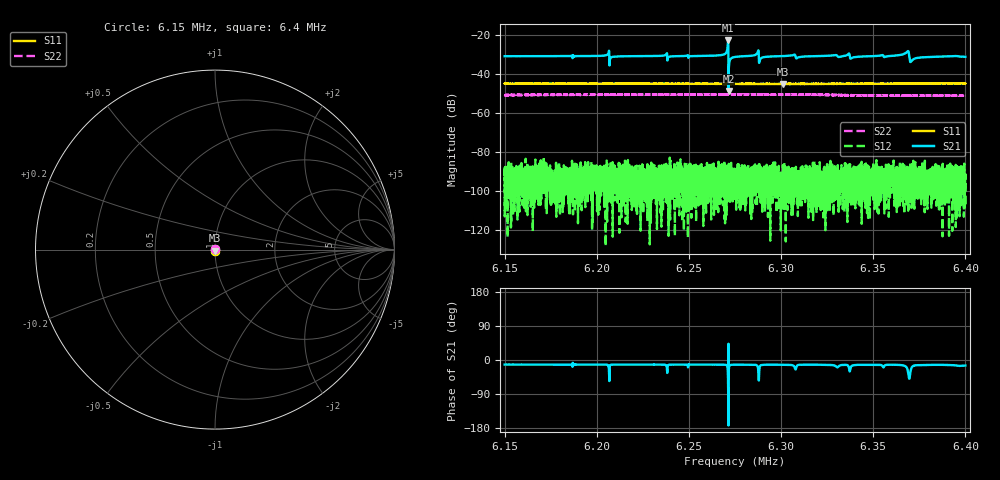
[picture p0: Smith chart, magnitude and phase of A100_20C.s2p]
!CETC41,AV3656A,ZGL00048,1.3.2
!Calibration ON (Full Solt 2-Port(Omit Isolation))
!Measurements: S11 S21 S12 S22
!2025-04-29 18:00
# Hz  S  dB  R 50.000
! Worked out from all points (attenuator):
!   6401 points, 6.15 MHz to 6.4 MHz, reference 50 ohm
!   highest |S21| = -22.74 dB at 6.2713 MHz (marker M1); lowest = -48.7 dB at 6.2715 MHz (marker M2)
!   lowest |S11| = -45.1 dB at 6.3011 MHz (marker M3), VSWR 1.01, Z = 49.9 - j0.551 ohm
!   |S11| at or under -10 dB: start of sweep to end of sweep
!   |S22| runs from -51.2 to -50.2 dB; largest |S21 - S12| = 0.073
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6150000  -44.86 -96.2  -30.81 -12.0  -92.04 8.0  -50.64 102.0
6191680  -44.86 -95.1  -30.74 -12.1  -91.73 165.0  -50.57 101.3
6205547  -44.81 -94.9  -30.14 -12.4  -88.44 -15.8  -50.53 100.4
6208086  -44.87 -95.3  -31.31 -12.4  -87.18 35.6  -50.51 100.2
6233359  -44.91 -96.1  -30.65 -12.2  -96.85 -73.0  -50.39 100.0
6265938  -44.97 -97.0  -30.37 -12.2  -96.06 123.7  -50.41 100.7
6269063  -44.94 -97.1  -29.88 -12.4  -95.71 13.3  -50.31 100.1
6270156  -44.97 -96.9  -29.13 -12.8  -86.91 67.7  -50.43 100.0
6271250  -45.02 -97.5  -22.74 -60.2  -90.59 -173.8  -50.34 100.4
6271484  -44.99 -96.9  -48.67 42.8  -90.18 74.7  -50.34 100.5
6272695  -44.98 -97.2  -32.11 -12.9  -90.01 88.2  -50.38 100.3
6275000  -44.97 -97.3  -31.19 -12.3  -92.64 -132.4  -50.31 100.0
6286602  -44.99 -96.9  -29.83 -13.2  -91.27 -155.4  -50.35 101.8
6289180  -45.00 -97.3  -31.85 -13.4  -99.59 -90.9  -50.37 101.3
6301133  -45.09 -97.3  -30.74 -12.5  -108.98 -84.6  -50.41 101.7
6316680  -45.01 -96.8  -30.83 -12.4  -98.21 -54.8  -50.53 101.3
6338594  -44.94 -96.0  -31.59 -14.9  -88.91 137.3  -50.80 100.1
6358359  -44.89 -95.6  -30.76 -12.7  -93.22 79.4  -50.91 99.9
6368164  -44.83 -95.9  -28.73 -20.0  -94.31 92.2  -51.10 99.5
6370977  -44.80 -96.2  -33.03 -18.8  -91.38 61.9  -51.10 99.5
6376367  -44.80 -95.8  -31.40 -13.5  -102.54 -56.3  -51.00 100.2
6400000  -44.73 -96.4  -31.14 -14.4  -93.09 59.2  -51.05 101.7
